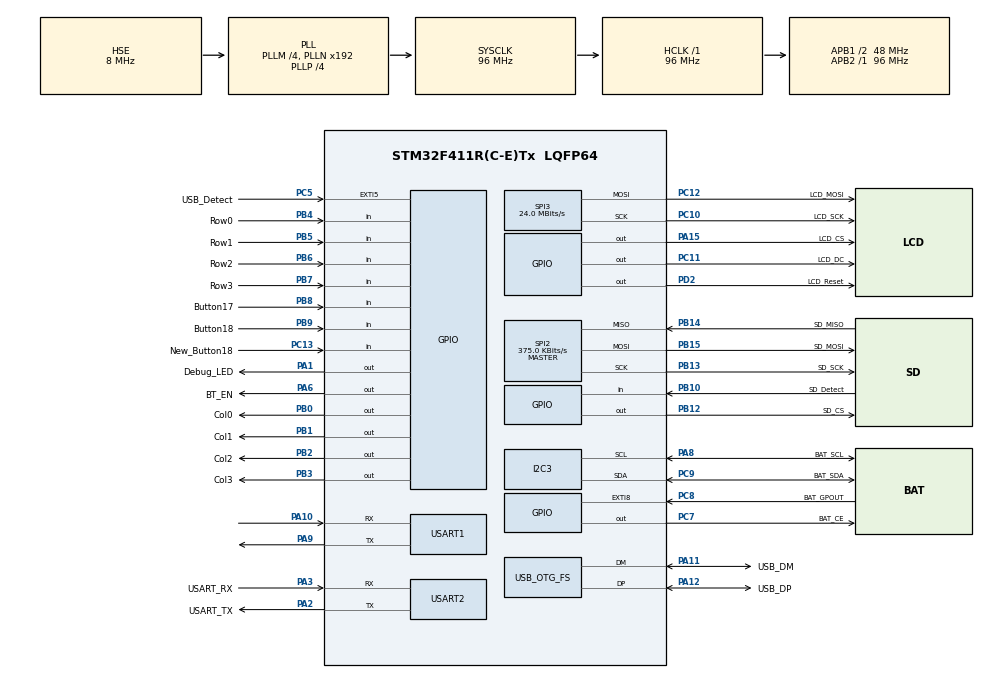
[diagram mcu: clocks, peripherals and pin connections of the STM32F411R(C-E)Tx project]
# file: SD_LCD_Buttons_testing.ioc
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I2C3.I2C_Mode=I2C_Fast
Mcu.Family=STM32F4
Mcu.Name=STM32F411R(C-E)Tx
Mcu.Package=LQFP64
NVIC.EXTI9_5_IRQn=true\:0\:0\:false\:false\:true\:true\:true\:true
NVIC.OTG_FS_IRQn=true\:0\:0\:false\:false\:true\:false\:true\:true
NVIC.PriorityGroup=NVIC_PRIORITYGROUP_0
NVIC.TIM2_IRQn=true\:0\:0\:false\:false\:true\:true\:true\:true
NVIC.TIM3_IRQn=true\:0\:0\:false\:false\:true\:true\:true\:true
PA1.GPIO_Label=Debug_LED
PA1.Signal=GPIO_Output
PA10.Mode=Asynchronous
PA10.Signal=USART1_RX
PA11.GPIO_Label=USB_DM
PA11.Mode=Device_Only
PA11.Signal=USB_OTG_FS_DM
PA12.GPIO_Label=USB_DP
PA12.Mode=Device_Only
PA12.Signal=USB_OTG_FS_DP
PA13.GPIO_Label=SWDIO
PA13.Mode=Serial_Wire
PA13.Signal=SYS_JTMS-SWDIO
PA14.GPIO_Label=SWCLK
PA14.Mode=Serial_Wire
PA14.Signal=SYS_JTCK-SWCLK
PA15.GPIO_Label=LCD_CS
PA15.Signal=GPIO_Output
PA2.GPIO_Label=USART_TX
PA2.Mode=Asynchronous
PA2.Signal=USART2_TX
PA3.GPIO_Label=USART_RX
PA3.Mode=Asynchronous
PA3.Signal=USART2_RX
PA6.GPIO_Label=BT_EN
PA6.GPIO_ModeDefaultOutputPP=GPIO_MODE_OUTPUT_OD
PA6.GPIO_PuPd=GPIO_NOPULL
PA6.Signal=GPIO_Output
PA8.GPIO_Label=BAT_SCL
PA8.Mode=I2C
PA8.Signal=I2C3_SCL
PA9.Mode=Asynchronous
PA9.Signal=USART1_TX
PB0.GPIO_Label=Col0
PB0.Signal=GPIO_Output
PB1.GPIO_Label=Col1
PB1.Signal=GPIO_Output
PB10.GPIO_Label=SD_Detect
PB10.GPIO_PuPd=GPIO_PULLUP
PB10.Signal=GPIO_Input
PB12.GPIO_Label=SD_CS
PB12.GPIO_PuPd=GPIO_PULLUP
PB12.Signal=GPIO_Output
PB13.GPIO_Label=SD_SCK
PB13.Mode=Full_Duplex_Master
PB13.Signal=SPI2_SCK
PB14.GPIO_Label=SD_MISO
PB14.GPIO_PuPd=GPIO_PULLUP
PB14.Mode=Full_Duplex_Master
PB14.Signal=SPI2_MISO
PB15.GPIO_Label=SD_MOSI
PB15.GPIO_PuPd=GPIO_PULLUP
PB15.Mode=Full_Duplex_Master
PB15.Signal=SPI2_MOSI
PB2.GPIO_Label=Col2
PB2.Signal=GPIO_Output
PB3.GPIO_Label=Col3
PB3.Signal=GPIO_Output
PB4.GPIO_Label=Row0
PB4.GPIO_PuPd=GPIO_PULLDOWN
PB4.Signal=GPIO_Input
PB5.GPIO_Label=Row1
PB5.GPIO_PuPd=GPIO_PULLDOWN
PB5.Signal=GPIO_Input
PB6.GPIO_Label=Row2
PB6.GPIO_PuPd=GPIO_PULLDOWN
PB6.Signal=GPIO_Input
PB7.GPIO_Label=Row3
PB7.GPIO_PuPd=GPIO_PULLDOWN
PB7.Signal=GPIO_Input
PB8.GPIO_Label=Button17
PB8.GPIO_PuPd=GPIO_PULLDOWN
PB8.Signal=GPIO_Input
PB9.GPIO_Label=Button18
PB9.GPIO_PuPd=GPIO_PULLDOWN
PB9.Signal=GPIO_Input
PC10.GPIO_Label=LCD_SCK
PC10.Mode=TX_Only_Simplex_Unidirect_Master
PC10.Signal=SPI3_SCK
PC11.GPIO_Label=LCD_DC
PC11.Signal=GPIO_Output
PC12.GPIO_Label=LCD_MOSI
PC12.Mode=TX_Only_Simplex_Unidirect_Master
PC12.Signal=SPI3_MOSI
PC13-ANTI_TAMP.GPIO_Label=New_Button18
PC13-ANTI_TAMP.Signal=GPIO_Input
PC5.GPIO_Label=USB_Detect
PC5.GPIO_ModeDefaultEXTI=GPIO_MODE_IT_RISING_FALLING
PC5.Signal=GPXTI5
PC7.GPIO_Label=BAT_CE
PC7.Signal=GPIO_Output
PC8.GPIO_Label=BAT_GPOUT
PC8.Signal=GPXTI8
PC9.GPIO_Label=BAT_SDA
PC9.Mode=I2C
PC9.Signal=I2C3_SDA
PD2.GPIO_Label=LCD_Reset
PD2.Signal=GPIO_Output
PH0\ -\ OSC_IN.Mode=HSE-External-Clock-Source
PH0\ -\ OSC_IN.Signal=RCC_OSC_IN
PH1\ -\ OSC_OUT.Mode=HSE-External-Clock-Source
PH1\ -\ OSC_OUT.Signal=RCC_OSC_OUT
ProjectManager.HeapSize=0x200
ProjectManager.StackSize=0x400
ProjectManager.TargetToolchain=STM32CubeIDE
RCC.48MHZClocksFreq_Value=48000000
RCC.AHBFreq_Value=96000000
RCC.APB1CLKDivider=RCC_HCLK_DIV2
RCC.APB1Freq_Value=48000000
RCC.APB1TimFreq_Value=96000000
RCC.APB2Freq_Value=96000000
RCC.APB2TimFreq_Value=96000000
RCC.CortexFreq_Value=96000000
RCC.FLatency-AdvancedSettings=FLASH_LATENCY_3
RCC.HCLKFreq_Value=96000000
RCC.HSE_VALUE=8000000
RCC.HSI_VALUE=16000000
RCC.LSE_VALUE=32768
RCC.PLLM=4
RCC.PLLP=RCC_PLLP_DIV4
RCC.PLLQ=8
RCC.SYSCLKFreq_VALUE=96000000
RCC.SYSCLKSource=RCC_SYSCLKSOURCE_PLLCLK
RCC.VCOOutputFreq_Value=384000000
SPI2.BaudRatePrescaler=SPI_BAUDRATEPRESCALER_128
SPI2.CalculateBaudRate=375.0 KBits/s
SPI2.Direction=SPI_DIRECTION_2LINES
SPI2.Mode=SPI_MODE_MASTER
SPI2.VirtualType=VM_MASTER
SPI3.CalculateBaudRate=24.0 MBits/s
SPI3.Direction=SPI_DIRECTION_2LINES
SPI3.Mode=SPI_MODE_MASTER
SPI3.VirtualType=VM_MASTER
TIM2.Period=100-1
TIM2.Prescaler=96-1
TIM3.Period=1000-1
TIM3.Prescaler=800-1
USART1.VirtualMode=VM_ASYNC
USART2.VirtualMode=VM_ASYNC
USB_DEVICE.CLASS_NAME_FS=HID
USB_DEVICE.MANUFACTURER_STRING=KayO 
USB_DEVICE.PID_HID_FS=22615
USB_DEVICE.PRODUCT_STRING_HID_FS=KayO Fightstick
USB_DEVICE.VirtualMode=Hid
USB_DEVICE.VirtualModeFS=Hid_FS
USB_OTG_FS.VirtualMode=Device_Only
VP_FATFS_VS_Generic.Mode=User_defined
VP_TIM2_VS_ClockSourceINT.Mode=Internal
VP_TIM3_VS_ClockSourceINT.Mode=Internal
VP_USB_DEVICE_VS_USB_DEVICE_HID_FS.Mode=HID_FS
board=NUCLEO-F411RE

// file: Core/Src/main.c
/* USER CODE BEGIN Header */
/**
  ******************************************************************************
  * @fil           : main.c
  * @brief          : Main program body
  ******************************************************************************
  * @attention
  *
  * Copyright (c) 2024 STMicroelectronics.
  * All rights reserved.
  *
  * This software is licensed under terms that can be found in the LICENSE fil
  * in the root directory of this software component.
  * If no LICENSE fil comes with this software, it is provided AS-IS.
  *
  ******************************************************************************
  */
/* USER CODE END Header */
#include "main.h"
#include "fatfs.h"
#include "usb_device.h"

/* USER CODE BEGIN Includes */
#include "usbd_hid.h"
#include "ili9341.h"
#include <stdio.h>
#include <string.h>
#include "fonts.h"
#include "integer.h"
#include "battbaby.h"
#include "BQ27441_Definitions.h"
#include <stdbool.h>
/* USER CODE END Includes */

/* USER CODE BEGIN PD */
// Image defines
#define SPIbuffSize 264
#define BUFFER_SIZE 1032
#define BITMAP_HEADER_SIZE sizeof(BmpHeader)

// Image position defines
#define LOGO_X 15
#define LOGO_Y 55
#define STATUS_X 215
#define STATUS_Y 110
#define BATTERY_X 210
#define BATTERY_Y 40
#define SOCD_X 280
#define SOCD_Y 200
#define PERCENT_X BATTERY_X + 15
#define PERCENT_Y BATTERY_Y + 7

// image filename defines
#define BLUETOOTH "blue.bmp"
#define USB "usb.bmp"
#define BATTERY_FULL "full.bmp"
#define BATTERY_NORM "norm.bmp"
#define BATTERY_LOW "low.bmp"
#define BATTERY_CHARGE "charg.bmp"
#define LOGO "logo.bmp"
#define NEUTRAL_SOCD "star.bmp"
#define UP_SOCD "up.bmp"

/* USER CODE END PD */

/* USER CODE BEGIN PM */
#define MIN(a, b) (((a)<(b))?(a): (b))
/* USER CODE END PM */

I2C_HandleTypeDef hi2c3;

SPI_HandleTypeDef hspi2;
SPI_HandleTypeDef hspi3;

TIM_HandleTypeDef htim2;
TIM_HandleTypeDef htim3;

UART_HandleTypeDef huart1;
UART_HandleTypeDef huart2;

/* USER CODE BEGIN PV */
//0x05, 0x01, // USAGE_PAGE (Generic Desktop)
//0x09, 0x05, // USAGE (Game Pad)
//0xA1, 0x01, // COLLECTION (Application)
//	0xA1, 0x00, // COLLECTION (Physical)
//		0x05, 0x09, // USAGE_PAGE (Button)
//		0x19, 0x01, // USAGE_MINIMUM (Button 1)
//		0x29, 0x15, // USAGE_MAXIMUM (Button 21)
//		0x15, 0x00, // LOGICAL_MINIMUM (0)
//		0x25, 0x01, // LOGICAL_MAXIMUM (1)
//		0x95, 0x15, // REPORT_COUNT (21)
//		0x75, 0x01, // REPORT_SIZE (1)
//		0x81, 0x02, // INPUT (Data, Var, Abs)
//		0x95, 0x01, // REPORT_COUNT (1)
//		0x75, 0x03, // REPORT_SIZE (3)
//		0x81, 0x07, // INPUT (Cnst, Var, Rel)
//	0xC0, // END_COLLECTION
//0xC0 // END_COLLECTION

bool bluetooth_mode = false;
bool neutral_SOCD_mode = false;

// ILI9341 Variables
int16_t x, y;
char buff[64];
uint16_t z=15;

// SD Card variables
FATFS fs;
FIL fil;
FRESULT fres;

// Image variables
typedef struct BmpHeader
{
uint8_t B;
uint8_t M;
uint32_t fsize;
uint16_t res1;
uint16_t res2;
uint32_t offset;
uint32_t hsize;
uint32_t w;
uint32_t h;
uint16_t planes;
uint16_t bpp;
uint32_t ctype;
uint32_t dsize;
uint32_t hppm;
uint32_t vppm;
uint32_t colorsused;
uint32_t colorreq;
}BmpHeader;

// Battery monitor variables
BQ27441_ctx_t BQ27441 = {
            .BQ27441_i2c_address = BQ27441_I2C_ADDRESS,
            .read_reg = BQ27441_i2cReadBytes,
            .write_reg = BQ27441_i2cWriteBytes,
};

int bat_charging = 0;
int16_t charge = 0;

// USB variables
extern USBD_HandleTypeDef hUsbDeviceFS;
volatile int col = 0;
uint8_t buffer[] = {0, 0, 0};
uint8_t cleaned_buffer[] = {0, 0, 0};
uint8_t bluetooth_buffer[] = {0xFD, 0x00, 0x00, 0x00};
/* USER CODE END PV */

void SystemClock_Config(void);
static void MX_GPIO_Init(void);
static void MX_USART2_UART_Init(void);
static void MX_SPI2_Init(void);
static void MX_SPI3_Init(void);
static void MX_TIM2_Init(void);
static void MX_TIM3_Init(void);
static void MX_I2C3_Init(void);
static void MX_USART1_UART_Init(void);
/* USER CODE BEGIN PFP */
void dispBat(void);
void buttons_init(void);
void drive_column(void);
uint8_t read_rows(void);
void clean_buffer(void);
void clean_buffer_bt(void);
void right_stick_emulate(void);
/* USER CODE END PFP */

/* USER CODE BEGIN 0 */

// Serial debug
#ifdef __GNUC__
  /* With GCC, small printf (option LD Linker->Libraries->Small printf
     set to 'Yes') calls __io_putchar() */
int __io_putchar(int ch)
#else
int fputc(int ch, FILE *f)
#endif /* __GNUC__ */
{
  /* Place your implementation of fputc here */
  /* e.g. write a character to the UART3 and Loop until the end of transmission */
  HAL_UART_Transmit(&huart1, (uint8_t *)&ch, 1, HAL_MAX_DELAY);
  return ch;
}

// Image display
int displayImage(const char*fname, uint32_t startx, uint32_t starty) {
	    FRESULT res = f_open(&fil, fname, FA_READ);
	    if(res != FR_OK) {
	    	printf("f_open() failed, res = %d, %s\r\n", res, fname);
	        return -1;
	    }

	    printf("File opened, reading...\r\n");

	    unsigned int bytesRead;
	    uint8_t header[34];
	    res = f_read(&fil, header, sizeof(header), &bytesRead);
	    if(res != FR_OK) {
	    	printf("f_read() failed: %i\r\n", res);
	        f_close(&fil);
	        return -2;
	    }

	    if((header[0] != 0x42) || (header[1] != 0x4D)) {
	    	printf("Wrong BMP signature\r\n");
	        f_close(&fil);
	        return -3;
	    }

	    uint32_t imageOffset = header[10] | (header[11] << 8) | (header[12] << 16) | (header[13] << 24);
	    uint32_t imageWidth = header[18] | (header[19] << 8) | (header[20] << 16) | (header[21] << 24);
	    uint32_t imageHeight = header[22] | (header[23] << 8) | (header[24] << 16) | (header[25] << 24);
	    uint16_t imagePlanes = header[26] | (header[27] << 8);
	    uint16_t imageBitsPerPixel = header[28] | (header[29] << 8);
	    uint32_t imageCompression = header[30] | (header[31] << 8) | (header[32] << 16) | (header[33] << 24);

	    if((imagePlanes != 1) || (imageBitsPerPixel != 24) || (imageCompression != 0)) {
	        f_close(&fil);
	        return -5;
	    }

	    res = f_lseek(&fil, imageOffset);
	    if(res != FR_OK) {
	    	printf("f_lseek() failed, %i", res);
	        snprintf(buff, sizeof(buff), "f_lseek() failed, res = %d\r\n ", res);
	    	ILI9341_WriteString(0, 120, buff, Font_7x10, ILI9341_RED, ILI9341_WHITE);
	        f_close(&fil);
	        return -6;
	    }

	    // row size is aligned to 4 bytes
	    uint8_t imageRow[(imageWidth * 3 + 3) & ~3];
	    for(uint32_t y = starty; y < starty + imageHeight; y++) {
	        uint32_t rowIdx = 0;
	        res = f_read(&fil, imageRow, sizeof(imageRow), &bytesRead);
	        if(res != FR_OK) {
	        	printf("f_read() failed, %i", res);
	            f_close(&fil);
	            return -7;
	        }

	        for(uint32_t x = startx; x < startx + imageWidth; x++) {
	            uint8_t b = imageRow[rowIdx++];
	            uint8_t g = imageRow[rowIdx++];
	            uint8_t r = imageRow[rowIdx++];
	            uint16_t color565 = ILI9341_COLOR565(r, g, b);
	            ILI9341_DrawPixel(x, (2*starty) + imageHeight - y - 1, color565);
	        }
	    }

	    res = f_close(&fil);
	    if(res != FR_OK) {
	    	printf("f_close() failed %i", res);
	        return -8;
	    }

	    return 0;
}

// Battery monitor related
HAL_StatusTypeDef BQ27441_i2cWriteBytes(uint16_t memAddress, uint8_t *pData, uint16_t Size) {
    return HAL_I2C_Mem_Write(&hi2c3, BQ27441_I2C_ADDRESS << 1, memAddress, I2C_MEMADD_SIZE_8BIT, pData, Size, HAL_MAX_DELAY);
}

HAL_StatusTypeDef BQ27441_i2cReadBytes(uint16_t memAddress, uint8_t *pData, uint16_t Size) {
    return HAL_I2C_Mem_Read(&hi2c3, BQ27441_I2C_ADDRESS << 1, memAddress, I2C_MEMADD_SIZE_8BIT, pData, Size, HAL_MAX_DELAY);
}

uint16_t BQ27441_readWord(uint16_t subAddress) {
    uint8_t data[2];
    BQ27441_i2cReadBytes(subAddress, data, 2);
    return ((uint16_t) data[1] << 8) | data[0];
}

uint16_t BQ27441_soc(soc_measure type) {
    //type = FILTERED;
    uint16_t socRet = 0;
    switch (type) {
        case FILTERED:
            socRet = BQ27441_readWord(BQ27441_COMMAND_SOC);
            break;
        case UNFILTERED:
            socRet = BQ27441_readWord(BQ27441_COMMAND_SOC_UNFL);
            break;
    }
    return socRet;
}

uint16_t BQ27441_voltage(void) {
    return BQ27441_readWord(BQ27441_COMMAND_VOLTAGE);
}

int16_t BQ27441_power(void) {
    return (int16_t) BQ27441_readWord(BQ27441_COMMAND_AVG_POWER);
}

uint16_t BQ27441_deviceType(void) {
	// command sent to slave to tell it master wants to know devicetype
	// 0xFF to get right 8 bits of BQ27441_CONTROL_DEVICE_TYPE
	// >>8 to get left 8 bits, discarding right 8 bits of BQ27441_CONTROL_DEVICE_TYPE
    uint8_t command[2] = {BQ27441_CONTROL_DEVICE_TYPE & 0xFF, BQ27441_CONTROL_DEVICE_TYPE >> 8};
    uint8_t data[2];
    uint16_t deviceType = 0;

    BQ27441_i2cWriteBytes(BQ27441_COMMAND_CONTROL, command, sizeof(command)); //write command to slave

    HAL_Delay(10); //delay to ensure device is ready

    if (BQ27441_i2cReadBytes(BQ27441_COMMAND_CONTROL, data, sizeof(data)) == HAL_OK) { //read device type from control register
        deviceType = (data[1] << 8) | data[0];
    }
    return deviceType;
}

bool BQ27441_init(BQ27441_ctx_t *dev) {
    if (dev == NULL)
        return false;
//    ctx.read_reg = dev->read_reg;
//    ctx.write_reg = dev->write_reg;
//    ctx.BQ27441_i2c_address = dev->BQ27441_i2c_address;

    if (BQ27441_deviceType() == BQ27441_DEVICE_ID) {
        return true;
    } else
        return false;
}

void check_charging(void) {
	uint16_t pow = BQ27441_power();
	printf("pow: %d\r\n", pow);
	if (pow > 15000) {
		bat_charging = 0;
	}
	else {
		bat_charging = 1;
	}
}

void Bat_init(BQ27441_ctx_t * dev) {
	BQ27441_init(dev);
	charge = BQ27441_soc(FILTERED);
	HAL_GPIO_WritePin(BAT_CE_GPIO_Port, BAT_CE_Pin, GPIO_PIN_SET);
	if (bat_charging && charge < 99) {
		HAL_GPIO_WritePin(BAT_CE_GPIO_Port, BAT_CE_Pin, GPIO_PIN_RESET);
	}
}

void updateBat(void) {
	charge = BQ27441_soc(FILTERED);
	printf("lcd charge: %d\r\n", charge);
	if (bat_charging){
		if (charge >= 99) {
			HAL_GPIO_WritePin(BAT_CE_GPIO_Port, BAT_CE_Pin, GPIO_PIN_SET);
		}
		else {
			HAL_GPIO_WritePin(BAT_CE_GPIO_Port, BAT_CE_Pin, GPIO_PIN_RESET);
		}
	}

}

void startup_init(void) {
	ILI9341_FillScreen(ILI9341_BLACK);
	  displayImage(LOGO, LOGO_X, LOGO_Y);
	  // Check USB connection
	  if (HAL_GPIO_ReadPin(USB_Detect_GPIO_Port, USB_Detect_Pin) == GPIO_PIN_SET) {
		  // If USB
		  // get battery percentage and status
		  bat_charging = 1;
//		  check_charging();
		  updateBat();

		  // show USB symbol, battery percentage
		  printf("Connection status: USB\r\n");
		  displayImage(USB, STATUS_X, STATUS_Y);
		  dispBat();

	//	  // Enable USB timer interrupt
	//	  HAL_TIM_Base_Start_IT(&htim3);
		  bluetooth_mode = false;
		  HAL_GPIO_WritePin(BT_EN_GPIO_Port, BT_EN_Pin, GPIO_PIN_RESET);
	  }
	  else {
		  // If not USB
		  // get battery percentage and status
		  bat_charging = 0;
		  updateBat();

		  // show bluetooth symbol, battery percentage
		  printf("Connection status: Bluetooth\r\n");
		  displayImage(BLUETOOTH, STATUS_X, STATUS_Y);
		  dispBat();

		  // Enable Bluetooth
		  bluetooth_mode = true;
		  HAL_GPIO_WritePin(BT_EN_GPIO_Port, BT_EN_Pin, GPIO_PIN_SET);
	  }
//	  if (HAL_GPIO_ReadPin(Button18_GPIO_Port, Button18_Pin) == GPIO_PIN_SET) {
//	  	neutral_SOCD_mode = true;
//	  	displayImage(NEUTRAL_SOCD, SOCD_X, SOCD_Y);
//	  }
//	  else {
//		neutral_SOCD_mode = false;
//		displayImage(UP_SOCD, SOCD_X, SOCD_Y);
//	  }
}

/* USER CODE END 0 */

int main(void)
{

  /* MCU Configuration--------------------------------------------------------*/

  /* Reset of all peripherals, Initializes the Flash interface and the Systick. */
  HAL_Init();

  /* Configure the system clock */
  SystemClock_Config();

  /* Initialize all configured peripherals */
  MX_GPIO_Init();
  MX_USART2_UART_Init();
  MX_SPI2_Init();
  MX_SPI3_Init();
  MX_TIM2_Init();
  MX_TIM3_Init();
  MX_FATFS_Init();
  MX_USB_DEVICE_Init();
  MX_I2C3_Init();
  MX_USART1_UART_Init();
  /* USER CODE BEGIN 2 */

  // Initialize the screen
  printf("\r\n~*~* PROTOTYPE *~*~\r\n");
  HAL_GPIO_WritePin(Debug_LED_GPIO_Port, Debug_LED_Pin, GPIO_PIN_SET);
  ILI9341_Init();
  ILI9341_FillScreen(ILI9341_BLACK);

  // Disable charging
  HAL_GPIO_WritePin(BAT_CE_GPIO_Port, BAT_CE_Pin, GPIO_PIN_SET);

  // Connect to battery monitor
  HAL_StatusTypeDef res;
  uint8_t receiveBuffer[1];
  printf("Connecting to battery monitor\r\n");
  if (HAL_I2C_Master_Receive(&hi2c3, (uint16_t) BQ27441_I2C_ADDRESS << 1, receiveBuffer, sizeof(receiveBuffer), HAL_MAX_DELAY) != HAL_OK) {
	  ILI9341_WriteString(65, 100, "Battery missing", Font_16x26, ILI9341_WHITE, ILI9341_BLACK);
	  ILI9341_WriteString(100, 130, "or damaged", Font_16x26, ILI9341_WHITE, ILI9341_BLACK);
	  while (1) {
		if (HAL_I2C_Master_Receive(&hi2c3, (uint16_t) BQ27441_I2C_ADDRESS << 1, receiveBuffer, sizeof(receiveBuffer), HAL_MAX_DELAY) == HAL_OK) {
		  printf("Device found\r\n");
		  break;
		}
	  }
  }
  ILI9341_FillScreen(ILI9341_BLACK);

  // Initialize Battery monitor
  Bat_init(&BQ27441);

  // Let SD card settle
  HAL_Delay(1000);

  // Check if SD card is connected
  if (HAL_GPIO_ReadPin(SD_Detect_GPIO_Port, SD_Detect_Pin) == GPIO_PIN_RESET) {
	  printf("Please check SD card connection\r\n");
	  ILI9341_WriteString(65, 100, "Please check", Font_16x26, ILI9341_WHITE, ILI9341_BLACK);
	  ILI9341_WriteString(100,  130,  "SD card", Font_16x26, ILI9341_WHITE, ILI9341_BLACK);
	  while (1) {
		  if(HAL_GPIO_ReadPin(SD_Detect_GPIO_Port, SD_Detect_Pin) == GPIO_PIN_SET) {
			  ILI9341_FillScreen(ILI9341_BLACK);
			  ILI9341_WriteString(90, 110, "SD card", Font_16x26, ILI9341_WHITE, ILI9341_BLACK);
	          ILI9341_WriteString(75, 130, "connected", Font_16x26, ILI9341_WHITE, ILI9341_BLACK);
			  HAL_Delay(1000);
			  break;
		  }
          HAL_Delay(500);
	  }
  }
  ILI9341_FillScreen(ILI9341_BLACK);

  // Mount SD Card
  fres = f_mount(&fs, "", 1);
  if (fres != FR_OK) {
	printf("f_mount error (%i)\r\n", fres);
	ILI9341_WriteString(90, 110, "SD card", Font_16x26, ILI9341_WHITE, ILI9341_BLACK);
	ILI9341_WriteString(75, 130, "mounting error", Font_16x26, ILI9341_WHITE, ILI9341_BLACK);
	while(1) {
		fres = f_mount(&fs, "", 1);
		if (fres == FR_OK) {
			break;
		}
	}
  }

  startup_init();

//  ILI9341_WriteString(80, 120, "LOGO", Font_16x26, ILI9341_WHITE, ILI9341_BLACK);
  // Enable buttons interrupt, and data timer interrupt
  HAL_TIM_Base_Start_IT(&htim2);
  HAL_TIM_Base_Start_IT(&htim3);

  // Enable battery baby timer interrupt

  /* USER CODE END 2 */

  /* Infinite loop */
  while (1)
  {

  }
}

void SystemClock_Config(void)
{
  RCC_OscInitTypeDef RCC_OscInitStruct = {0};
  RCC_ClkInitTypeDef RCC_ClkInitStruct = {0};

  /** Configure the main internal regulator output voltage
  */
  __HAL_RCC_PWR_CLK_ENABLE();
  __HAL_PWR_VOLTAGESCALING_CONFIG(PWR_REGULATOR_VOLTAGE_SCALE1);

  /** Initializes the RCC Oscillators according to the specified parameters
  * in the RCC_OscInitTypeDef structure.
  */
  RCC_OscInitStruct.OscillatorType = RCC_OSCILLATORTYPE_HSE;
  RCC_OscInitStruct.HSEState = RCC_HSE_BYPASS;
  RCC_OscInitStruct.PLL.PLLState = RCC_PLL_ON;
  RCC_OscInitStruct.PLL.PLLSource = RCC_PLLSOURCE_HSE;
  RCC_OscInitStruct.PLL.PLLM = 4;
  RCC_OscInitStruct.PLL.PLLN = 192;
  RCC_OscInitStruct.PLL.PLLP = RCC_PLLP_DIV4;
  RCC_OscInitStruct.PLL.PLLQ = 8;
  if (HAL_RCC_OscConfig(&RCC_OscInitStruct) != HAL_OK)
  {
    Error_Handler();
  }

  /** Initializes the CPU, AHB and APB buses clocks
  */
  RCC_ClkInitStruct.ClockType = RCC_CLOCKTYPE_HCLK|RCC_CLOCKTYPE_SYSCLK
                              |RCC_CLOCKTYPE_PCLK1|RCC_CLOCKTYPE_PCLK2;
  RCC_ClkInitStruct.SYSCLKSource = RCC_SYSCLKSOURCE_PLLCLK;
  RCC_ClkInitStruct.AHBCLKDivider = RCC_SYSCLK_DIV1;
  RCC_ClkInitStruct.APB1CLKDivider = RCC_HCLK_DIV2;
  RCC_ClkInitStruct.APB2CLKDivider = RCC_HCLK_DIV1;

  if (HAL_RCC_ClockConfig(&RCC_ClkInitStruct, FLASH_LATENCY_3) != HAL_OK)
  {
    Error_Handler();
  }
}

static void MX_I2C3_Init(void)
{

  hi2c3.Instance = I2C3;
  hi2c3.Init.ClockSpeed = 400000;
  hi2c3.Init.DutyCycle = I2C_DUTYCYCLE_2;
  hi2c3.Init.OwnAddress1 = 0;
  hi2c3.Init.AddressingMode = I2C_ADDRESSINGMODE_7BIT;
  hi2c3.Init.DualAddressMode = I2C_DUALADDRESS_DISABLE;
  hi2c3.Init.OwnAddress2 = 0;
  hi2c3.Init.GeneralCallMode = I2C_GENERALCALL_DISABLE;
  hi2c3.Init.NoStretchMode = I2C_NOSTRETCH_DISABLE;
  if (HAL_I2C_Init(&hi2c3) != HAL_OK)
  {
    Error_Handler();
  }

}

static void MX_SPI2_Init(void)
{

  /* SPI2 parameter configuration*/
  hspi2.Instance = SPI2;
  hspi2.Init.Mode = SPI_MODE_MASTER;
  hspi2.Init.Direction = SPI_DIRECTION_2LINES;
  hspi2.Init.DataSize = SPI_DATASIZE_8BIT;
  hspi2.Init.CLKPolarity = SPI_POLARITY_LOW;
  hspi2.Init.CLKPhase = SPI_PHASE_1EDGE;
  hspi2.Init.NSS = SPI_NSS_SOFT;
  hspi2.Init.BaudRatePrescaler = SPI_BAUDRATEPRESCALER_128;
  hspi2.Init.FirstBit = SPI_FIRSTBIT_MSB;
  hspi2.Init.TIMode = SPI_TIMODE_DISABLE;
  hspi2.Init.CRCCalculation = SPI_CRCCALCULATION_DISABLE;
  hspi2.Init.CRCPolynomial = 10;
  if (HAL_SPI_Init(&hspi2) != HAL_OK)
  {
    Error_Handler();
  }

}

static void MX_SPI3_Init(void)
{

  /* SPI3 parameter configuration*/
  hspi3.Instance = SPI3;
  hspi3.Init.Mode = SPI_MODE_MASTER;
  hspi3.Init.Direction = SPI_DIRECTION_2LINES;
  hspi3.Init.DataSize = SPI_DATASIZE_8BIT;
  hspi3.Init.CLKPolarity = SPI_POLARITY_LOW;
  hspi3.Init.CLKPhase = SPI_PHASE_1EDGE;
  hspi3.Init.NSS = SPI_NSS_SOFT;
  hspi3.Init.BaudRatePrescaler = SPI_BAUDRATEPRESCALER_2;
  hspi3.Init.FirstBit = SPI_FIRSTBIT_MSB;
  hspi3.Init.TIMode = SPI_TIMODE_DISABLE;
  hspi3.Init.CRCCalculation = SPI_CRCCALCULATION_DISABLE;
  hspi3.Init.CRCPolynomial = 10;
  if (HAL_SPI_Init(&hspi3) != HAL_OK)
  {
    Error_Handler();
  }

}

static void MX_TIM2_Init(void)
{

  TIM_ClockConfigTypeDef sClockSourceConfig = {0};
  TIM_MasterConfigTypeDef sMasterConfig = {0};

  htim2.Instance = TIM2;
  htim2.Init.Prescaler = 96-1;
  htim2.Init.CounterMode = TIM_COUNTERMODE_UP;
  htim2.Init.Period = 100-1;
  htim2.Init.ClockDivision = TIM_CLOCKDIVISION_DIV1;
  htim2.Init.AutoReloadPreload = TIM_AUTORELOAD_PRELOAD_DISABLE;
  if (HAL_TIM_Base_Init(&htim2) != HAL_OK)
  {
    Error_Handler();
  }
  sClockSourceConfig.ClockSource = TIM_CLOCKSOURCE_INTERNAL;
  if (HAL_TIM_ConfigClockSource(&htim2, &sClockSourceConfig) != HAL_OK)
  {
    Error_Handler();
  }
  sMasterConfig.MasterOutputTrigger = TIM_TRGO_RESET;
  sMasterConfig.MasterSlaveMode = TIM_MASTERSLAVEMODE_DISABLE;
  if (HAL_TIMEx_MasterConfigSynchronization(&htim2, &sMasterConfig) != HAL_OK)
  {
    Error_Handler();
  }

}

static void MX_TIM3_Init(void)
{

  TIM_ClockConfigTypeDef sClockSourceConfig = {0};
  TIM_MasterConfigTypeDef sMasterConfig = {0};

  htim3.Instance = TIM3;
  htim3.Init.Prescaler = 800-1;
  htim3.Init.CounterMode = TIM_COUNTERMODE_UP;
  htim3.Init.Period = 1000-1;
  htim3.Init.ClockDivision = TIM_CLOCKDIVISION_DIV1;
  htim3.Init.AutoReloadPreload = TIM_AUTORELOAD_PRELOAD_DISABLE;
  if (HAL_TIM_Base_Init(&htim3) != HAL_OK)
  {
    Error_Handler();
  }
  sClockSourceConfig.ClockSource = TIM_CLOCKSOURCE_INTERNAL;
  if (HAL_TIM_ConfigClockSource(&htim3, &sClockSourceConfig) != HAL_OK)
  {
    Error_Handler();
  }
  sMasterConfig.MasterOutputTrigger = TIM_TRGO_RESET;
  sMasterConfig.MasterSlaveMode = TIM_MASTERSLAVEMODE_DISABLE;
  if (HAL_TIMEx_MasterConfigSynchronization(&htim3, &sMasterConfig) != HAL_OK)
  {
    Error_Handler();
  }

}

static void MX_USART1_UART_Init(void)
{

  huart1.Instance = USART1;
  huart1.Init.BaudRate = 115200;
  huart1.Init.WordLength = UART_WORDLENGTH_8B;
  huart1.Init.StopBits = UART_STOPBITS_1;
  huart1.Init.Parity = UART_PARITY_NONE;
  huart1.Init.Mode = UART_MODE_TX_RX;
  huart1.Init.HwFlowCtl = UART_HWCONTROL_NONE;
  huart1.Init.OverSampling = UART_OVERSAMPLING_16;
  if (HAL_UART_Init(&huart1) != HAL_OK)
  {
    Error_Handler();
  }

}

static void MX_USART2_UART_Init(void)
{

  huart2.Instance = USART2;
  huart2.Init.BaudRate = 115200;
  huart2.Init.WordLength = UART_WORDLENGTH_8B;
  huart2.Init.StopBits = UART_STOPBITS_1;
  huart2.Init.Parity = UART_PARITY_NONE;
  huart2.Init.Mode = UART_MODE_TX_RX;
  huart2.Init.HwFlowCtl = UART_HWCONTROL_NONE;
  huart2.Init.OverSampling = UART_OVERSAMPLING_16;
  if (HAL_UART_Init(&huart2) != HAL_OK)
  {
    Error_Handler();
  }

}

static void MX_GPIO_Init(void)
{
  GPIO_InitTypeDef GPIO_InitStruct = {0};

  /* GPIO Ports Clock Enable */
  __HAL_RCC_GPIOC_CLK_ENABLE();
  __HAL_RCC_GPIOH_CLK_ENABLE();
  __HAL_RCC_GPIOA_CLK_ENABLE();
  __HAL_RCC_GPIOB_CLK_ENABLE();
  __HAL_RCC_GPIOD_CLK_ENABLE();

  /*Configure GPIO pin Output Level */
  HAL_GPIO_WritePin(GPIOA, Debug_LED_Pin|BT_EN_Pin|LCD_CS_Pin, GPIO_PIN_RESET);

  /*Configure GPIO pin Output Level */
  HAL_GPIO_WritePin(GPIOB, Col0_Pin|Col1_Pin|Col2_Pin|SD_CS_Pin
                          |Col3_Pin, GPIO_PIN_RESET);

  /*Configure GPIO pin Output Level */
  HAL_GPIO_WritePin(GPIOC, BAT_CE_Pin|LCD_DC_Pin, GPIO_PIN_RESET);

  /*Configure GPIO pin Output Level */
  HAL_GPIO_WritePin(LCD_Reset_GPIO_Port, LCD_Reset_Pin, GPIO_PIN_RESET);

  /*Configure GPIO pin : New_Button18_Pin */
  GPIO_InitStruct.Pin = New_Button18_Pin;
  GPIO_InitStruct.Mode = GPIO_MODE_INPUT;
  GPIO_InitStruct.Pull = GPIO_NOPULL;
  HAL_GPIO_Init(New_Button18_GPIO_Port, &GPIO_InitStruct);

  /*Configure GPIO pins : Debug_LED_Pin LCD_CS_Pin */
  GPIO_InitStruct.Pin = Debug_LED_Pin|LCD_CS_Pin;
  GPIO_InitStruct.Mode = GPIO_MODE_OUTPUT_PP;
  GPIO_InitStruct.Pull = GPIO_NOPULL;
  GPIO_InitStruct.Speed = GPIO_SPEED_FREQ_LOW;
  HAL_GPIO_Init(GPIOA, &GPIO_InitStruct);

  /*Configure GPIO pin : BT_EN_Pin */
  GPIO_InitStruct.Pin = BT_EN_Pin;
  GPIO_InitStruct.Mode = GPIO_MODE_OUTPUT_OD;
  GPIO_InitStruct.Pull = GPIO_NOPULL;
  GPIO_InitStruct.Speed = GPIO_SPEED_FREQ_LOW;
  HAL_GPIO_Init(BT_EN_GPIO_Port, &GPIO_InitStruct);

  /*Configure GPIO pin : USB_Detect_Pin */
  GPIO_InitStruct.Pin = USB_Detect_Pin;
  GPIO_InitStruct.Mode = GPIO_MODE_IT_RISING_FALLING;
  GPIO_InitStruct.Pull = GPIO_NOPULL;
  HAL_GPIO_Init(USB_Detect_GPIO_Port, &GPIO_InitStruct);

  /*Configure GPIO pins : Col0_Pin Col1_Pin Col2_Pin Col3_Pin */
  GPIO_InitStruct.Pin = Col0_Pin|Col1_Pin|Col2_Pin|Col3_Pin;
  GPIO_InitStruct.Mode = GPIO_MODE_OUTPUT_PP;
  GPIO_InitStruct.Pull = GPIO_NOPULL;
  GPIO_InitStruct.Speed = GPIO_SPEED_FREQ_LOW;
  HAL_GPIO_Init(GPIOB, &GPIO_InitStruct);

  /*Configure GPIO pin : SD_Detect_Pin */
  GPIO_InitStruct.Pin = SD_Detect_Pin;
  GPIO_InitStruct.Mode = GPIO_MODE_INPUT;
  GPIO_InitStruct.Pull = GPIO_PULLUP;
  HAL_GPIO_Init(SD_Detect_GPIO_Port, &GPIO_InitStruct);

  /*Configure GPIO pin : SD_CS_Pin */
  GPIO_InitStruct.Pin = SD_CS_Pin;
  GPIO_InitStruct.Mode = GPIO_MODE_OUTPUT_PP;
  GPIO_InitStruct.Pull = GPIO_PULLUP;
  GPIO_InitStruct.Speed = GPIO_SPEED_FREQ_LOW;
  HAL_GPIO_Init(SD_CS_GPIO_Port, &GPIO_InitStruct);

  /*Configure GPIO pins : BAT_CE_Pin LCD_DC_Pin */
  GPIO_InitStruct.Pin = BAT_CE_Pin|LCD_DC_Pin;
  GPIO_InitStruct.Mode = GPIO_MODE_OUTPUT_PP;
  GPIO_InitStruct.Pull = GPIO_NOPULL;
  GPIO_InitStruct.Speed = GPIO_SPEED_FREQ_LOW;
  HAL_GPIO_Init(GPIOC, &GPIO_InitStruct);

  /*Configure GPIO pin : BAT_GPOUT_Pin */
  GPIO_InitStruct.Pin = BAT_GPOUT_Pin;
  GPIO_InitStruct.Mode = GPIO_MODE_IT_RISING;
  GPIO_InitStruct.Pull = GPIO_NOPULL;
  HAL_GPIO_Init(BAT_GPOUT_GPIO_Port, &GPIO_InitStruct);

  /*Configure GPIO pin : LCD_Reset_Pin */
  GPIO_InitStruct.Pin = LCD_Reset_Pin;
  GPIO_InitStruct.Mode = GPIO_MODE_OUTPUT_PP;
  GPIO_InitStruct.Pull = GPIO_NOPULL;
  GPIO_InitStruct.Speed = GPIO_SPEED_FREQ_LOW;
  HAL_GPIO_Init(LCD_Reset_GPIO_Port, &GPIO_InitStruct);

  /*Configure GPIO pins : Row0_Pin Row1_Pin Row2_Pin Row3_Pin
                           Button17_Pin Button18_Pin */
  GPIO_InitStruct.Pin = Row0_Pin|Row1_Pin|Row2_Pin|Row3_Pin
                          |Button17_Pin|Button18_Pin;
  GPIO_InitStruct.Mode = GPIO_MODE_INPUT;
  GPIO_InitStruct.Pull = GPIO_PULLDOWN;
  HAL_GPIO_Init(GPIOB, &GPIO_InitStruct);

  /* EXTI interrupt init*/
  HAL_NVIC_SetPriority(EXTI9_5_IRQn, 0, 0);
  HAL_NVIC_EnableIRQ(EXTI9_5_IRQn);

}

/* USER CODE BEGIN 4 */
void dispBat(void) {
	snprintf(buff, sizeof(buff), "%d", charge);
//	printf("charge: %d", charge);
	if (bat_charging){
		displayImage(BATTERY_CHARGE, BATTERY_X, BATTERY_Y);
		ILI9341_WriteString(PERCENT_X, PERCENT_Y, buff, Font_16x26, ILI9341_GREEN, ILI9341_BLACK);
	}
	else {
		if (charge >= 25) {
			displayImage(BATTERY_NORM, BATTERY_X, BATTERY_Y);
			ILI9341_WriteString(PERCENT_X, PERCENT_Y, buff, Font_16x26, ILI9341_WHITE, ILI9341_BLACK);
		}
		else {
			displayImage(BATTERY_LOW, BATTERY_X, BATTERY_Y);
			ILI9341_WriteString(PERCENT_X, PERCENT_Y, buff, Font_16x26, ILI9341_RED, ILI9341_BLACK);
		}
	}
}

void buttons_init(void) {
	  GPIOB->BSRR = 0xf << 16;
	  GPIOB->BSRR = 0x1;
}

void drive_column(void) {
	col = (col + 1) & 0x3;
	GPIOB->BSRR = 0xf << 16;
	GPIOB->BSRR = 0x1 << (col);
}

uint8_t read_rows(void) {
	return ((GPIOB->IDR & 0xf0) >> 4) & 0xf;
}

void clean_buffer(void) {
	if (((buffer[2] & 0x3) == 0x3) && ((buffer[1] & 0x08) == 0x08)) {
		HAL_NVIC_SystemReset();
	}
	cleaned_buffer[0] = buffer[0];
	cleaned_buffer[1] = buffer[1];
	cleaned_buffer[2] = buffer[2] & 0x01;
//	if (cleaned_buffer[0] & 0x01 && cleaned_buffer[0] & 0x04) {
//		if (neutral_SOCD_mode) {
//			cleaned_buffer[0] &= ~0x05;
//		}
//		else {
//			cleaned_buffer[0] &= ~0x04;
//		}
//	}
//	if (cleaned_buffer[0] & 0x02 && cleaned_buffer[0] & 0x08) {
//		cleaned_buffer[0] &= ~0x0A;
//	}
//	printf("cleaned: %X\r\n", cleaned_buffer[0]);
}

void right_stick_emulate(void) {
	if (buffer[2] & 0x02) {
//		cleaned_buffer[2] &= ~0x02;
//		printf("cleaning %X, ", cleaned_buffer[2]);
//		printf("[0], %X\r\n", cleaned_buffer[0] & 0x0f);
		cleaned_buffer[2] |= ((cleaned_buffer[0] & 0x0f) << 1);
//		printf("cleaned %X\r\n", cleaned_buffer[2]);
		cleaned_buffer[0] &= ~0x0f;
//		cleaned_buffer[1] &= ~0x70;
	}
}

void clean_buffer_bt(void) {
	bluetooth_buffer[1] = cleaned_buffer[0];
	bluetooth_buffer[2] = cleaned_buffer[1];
	bluetooth_buffer[3] = cleaned_buffer[2];
}

void HAL_TIM_PeriodElapsedCallback(TIM_HandleTypeDef *htim) {
	if (htim == &htim2) {
		uint8_t rows = read_rows();
		int idx = col / 2;
		buffer[idx] &= ~(0xf << ((col % 2) * 4));
		buffer[idx] |= rows << ((col % 2) * 4);
		drive_column();
		buffer[2] = HAL_GPIO_ReadPin(Button17_GPIO_Port, Button17_Pin) | HAL_GPIO_ReadPin(Button18_GPIO_Port, Button18_Pin) << 1;
	}

	if (htim == &htim3) {
//		printf("buffer: %X, %X, %X\r\n", buffer[2], buffer[1], buffer[0]);
		clean_buffer();
		right_stick_emulate();
		if (bluetooth_mode) {
			clean_buffer_bt();
			HAL_UART_Transmit(&huart2, bluetooth_buffer, sizeof(bluetooth_buffer), 100);
		}
		else {
			USBD_HID_SendReport(&hUsbDeviceFS, cleaned_buffer, sizeof(cleaned_buffer));
		}
	}
}

void HAL_GPIO_EXTI_Callback(uint16_t GPIO_Pin) {
	 if ((GPIO_Pin == BAT_GPOUT_Pin)) {
//		 check_charging();
		 updateBat();
		 dispBat();
	 }
	 else if ((GPIO_Pin == USB_Detect_Pin)) {
		 startup_init();
	 }
	 else {
		 __NOP();
	 }
}
/* USER CODE END 4 */

void Error_Handler(void)
{
  __disable_irq();
  while (1)
  {
  }
}
